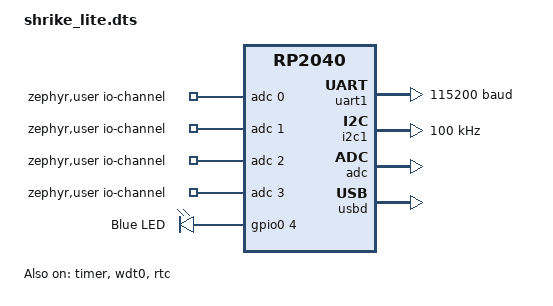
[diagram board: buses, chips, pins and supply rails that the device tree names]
/*
 * Copyright (c) 2025 Dhruv Menon <dhruvmenon1104@gmail.com>
 * SPDX-License-Identifier: Apache-2.0
 */

/dts-v1/;

#include <raspberrypi/rpi_pico/rp2040.dtsi>
#include <zephyr/dt-bindings/pinctrl/rpi-pico-rp2040-pinctrl.h>
#include "shrike_lite-pinctrl.dtsi"
#include <zephyr/dt-bindings/i2c/i2c.h>

/ {
	chosen {
		zephyr,sram = &sram0;
		zephyr,flash = &flash0;
		zephyr,flash-controller = &ssi;
		zephyr,console = &uart1;
		zephyr,shell-uart = &uart1;
		zephyr,code-partition = &code_partition;
	};

	aliases {
		/* I2C1 on pins 14/15, connected to both pinout and FPGA */
		fpga-i2c1 = &i2c1;
		watchdog0 = &wdt0;
		led0 = &blue_led;
	};

	zephyr,user {
		io-channels = <&adc 0>, <&adc 1>, <&adc 2>, <&adc 3>;
	};

	leds: leds {
		compatible = "gpio-leds";

		blue_led: blue_led {
			gpios = <&gpio0 4 GPIO_ACTIVE_HIGH>;
			label = "Blue LED";
		};
	};
};

&flash0 {
	/* 4MB (32Mb) flash - W25Q32JV minus the 0x100 used for
	 * the second stage bootloader
	 */
	reg = <0x10000000 DT_SIZE_M(4)>;

	partitions {
		compatible = "fixed-partitions";
		#address-cells = <1>;
		#size-cells = <1>;

		/* Reserved memory for the second stage bootloader */
		second_stage_bootloader: partition@0 {
			label = "second_stage_bootloader";
			reg = <0x00000000 0x100>;
			read-only;
		};

		/*
		 * Usable flash. Starts at 0x100, after the bootloader. The partition
		 * size is 4MB minus the 0x100 bytes taken by the bootloader.
		 */
		code_partition: partition@100 {
			label = "code-partition";
			reg = <0x100 (DT_SIZE_M(4) - 0x100)>;
			read-only;
		};
	};
};

&gpio0 {
	status = "okay";
};

&uart1 {
	current-speed = <115200>;
	status = "okay";
	pinctrl-0 = <&uart1_default>;
	pinctrl-names = "default";
};

&i2c1 {
	clock-frequency = <I2C_BITRATE_STANDARD>;
	status = "okay";
	pinctrl-0 = <&i2c1_default>;
	pinctrl-names = "default";
};

&adc {
	status = "okay";
	pinctrl-0 = <&adc_default>;
	pinctrl-names = "default";
};

&timer {
	status = "okay";
};

&wdt0 {
	status = "okay";
};

&rtc {
	clocks = <&clocks RPI_PICO_CLKID_CLK_RTC>;
	status = "okay";
};

zephyr_udc0: &usbd {
	status = "okay";
};

&vreg {
	regulator-always-on;
	regulator-allowed-modes = <REGULATOR_RPI_PICO_MODE_NORMAL>;
};

&xosc {
	startup-delay-multiplier = <64>;
};
